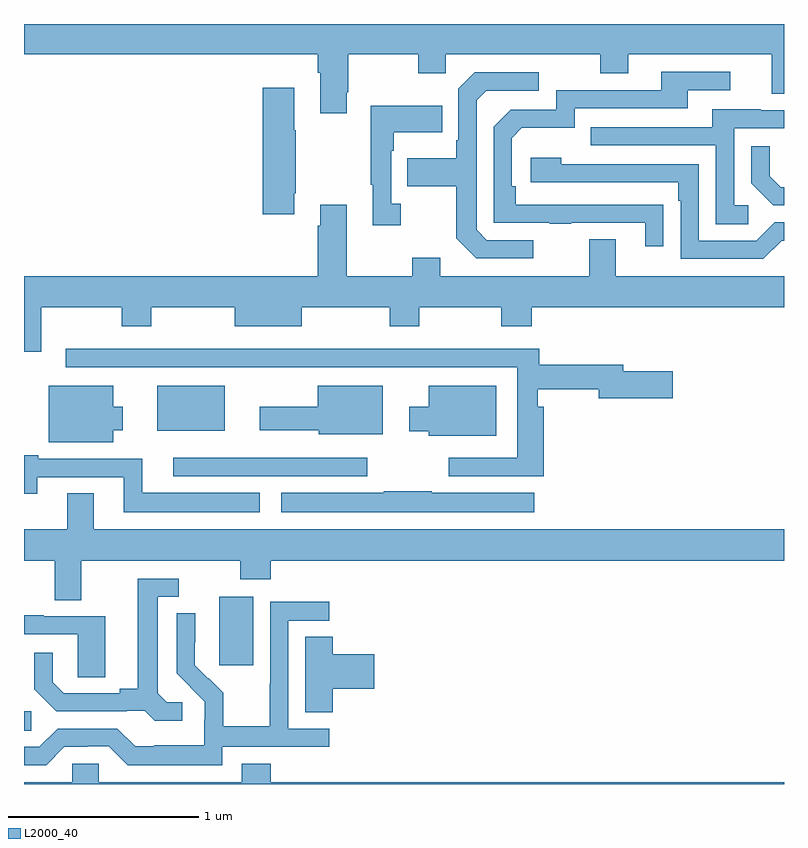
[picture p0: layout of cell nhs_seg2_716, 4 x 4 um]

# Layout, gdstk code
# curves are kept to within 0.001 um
import gdstk
lib = gdstk.Library(unit=1e-6, precision=1e-09)
def R(c, l, rs):  # rectangles x0, y0, x1, y1
    for r in rs: c.add(gdstk.rectangle(r[:2], r[2:], *l))
def P(c, l, *ps):  # polygons
    for p in ps: c.add(gdstk.Polygon(p, *l))
L2000_40 = (2000, 40)

nhs_seg2_716 = lib.new_cell('nhs_seg2_716')
R(nhs_seg2_716, L2000_40, [(147,640.081,147.037,640.182), (148.028,640.425,148.207,640.786), (147.701,641.66,148.057,641.896)])
P(nhs_seg2_716, L2000_40, [(148.699,643.441),(148.707,643.441),(148.707,643.64),(149.074,643.64),(149.074,643.541),(149.22,643.541),(149.22,643.64),(150.034,643.64),(150.034,643.541),(150.181,643.541),(150.181,643.64),(150.935,643.64),(150.935,643.432),(151,643.432),(151,643.8),(147,643.8),(147,643.64),(148.547,643.64),(148.547,643.544),(148.559,643.544),(148.559,643.329),(148.699,643.329)],
  [(150.365,642.848),(149.588,642.849),(149.588,642.946),(149.568,642.946),(149.568,643.2),(149.621,643.253),(149.898,643.253),(149.898,643.356),(150.493,643.356),(150.493,643.452),(150.718,643.452),(150.718,643.548),(150.353,643.548),(150.353,643.452),(149.802,643.452),(149.802,643.35),(149.562,643.35),(149.472,643.26),(149.472,642.753),(149.767,642.753),(149.767,642.748),(149.879,642.748),(149.879,642.753),(150.269,642.753),(150.269,642.63),(150.365,642.63)],
  [(149.68,642.663),(149.436,642.663),(149.382,642.717),(149.382,643.398),(149.433,643.449),(149.71,643.449),(149.71,643.545),(149.373,643.545),(149.286,643.458),(149.286,643.189),(149.274,643.189),(149.274,643.093),(149.017,643.093),(149.017,642.946),(149.274,642.946),(149.274,642.673),(149.379,642.567),(149.68,642.567)],
  [(148.423,642.91),(148.431,642.91),(148.431,643.241),(148.423,643.241),(148.423,643.465),(148.256,643.465),(148.256,642.798),(148.423,642.798)],
  [(148.984,642.854),(148.932,642.854),(148.932,643.133),(148.945,643.133),(148.945,643.229),(149.201,643.229),(149.201,643.369),(148.824,643.369),(148.824,642.953),(148.835,642.953),(148.835,642.741),(148.984,642.741)],
  [(150.811,642.846),(150.738,642.846),(150.738,643.251),(151,643.251),(151,643.347),(150.877,643.347),(150.877,643.351),(150.623,643.351),(150.623,643.257),(149.983,643.257),(149.983,643.161),(150.642,643.161),(150.642,642.745),(150.811,642.745)],
  [(151,642.942),(150.982,642.942),(150.925,642.999),(150.925,643.156),(150.828,643.156),(150.828,642.962),(150.944,642.846),(151,642.846)],
  [(150.987,642.66),(151,642.66),(151,642.756),(150.951,642.756),(150.855,642.66),(150.552,642.66),(150.552,643.062),(149.828,643.062),(149.828,643.096),(149.667,643.096),(149.667,642.966),(150.443,642.966),(150.443,642.869),(150.456,642.869),(150.456,642.564),(150.891,642.564)],
  [(147.091,642.308),(147.514,642.308),(147.514,642.209),(147.669,642.209),(147.669,642.308),(148.109,642.308),(148.109,642.209),(148.462,642.209),(148.462,642.308),(148.924,642.308),(148.924,642.209),(149.079,642.209),(149.079,642.308),(149.512,642.308),(149.512,642.209),(149.672,642.209),(149.672,642.308),(151,642.308),(151,642.472),(150.115,642.472),(150.115,642.667),(149.975,642.667),(149.975,642.472),(149.191,642.472),(149.191,642.571),(149.044,642.571),(149.044,642.472),(148.699,642.472),(148.699,642.85),(148.559,642.85),(148.559,642.737),(148.547,642.737),(148.547,642.472),(147,642.472),(147,642.075),(147.091,642.075)],
  [(149.735,641.785),(149.704,641.785),(149.704,641.878),(150.026,641.878),(150.026,641.831),(150.415,641.831),(150.415,641.973),(150.154,641.973),(150.154,642.007),(149.711,642.007),(149.711,642.09),(149.423,642.09),(149.423,642.092),(149.167,642.092),(149.167,642.09),(148.835,642.09),(148.835,642.092),(148.558,642.092),(148.558,642.09),(148.013,642.09),(148.013,642.092),(147.757,642.092),(147.757,642.09),(147.219,642.09),(147.219,641.994),(148.144,641.994),(148.144,641.993),(148.451,641.993),(148.451,641.994),(149.595,641.994),(149.595,641.517),(149.235,641.517),(149.235,641.421),(149.735,641.421)],
  [(147.469,641.663),(147.52,641.663),(147.52,641.785),(147.469,641.785),(147.469,641.896),(147.131,641.896),(147.131,641.6),(147.469,641.6)],
  [(149.485,641.896),(149.129,641.896),(149.129,641.785),(149.027,641.785),(149.027,641.656),(149.129,641.656),(149.129,641.633),(149.485,641.633)],
  [(148.888,641.896),(148.547,641.896),(148.547,641.785),(148.242,641.785),(148.242,641.663),(148.551,641.663),(148.551,641.642),(148.888,641.642)],
  [(148.24,641.332),(147.622,641.332),(147.622,641.511),(147.076,641.511),(147.076,641.531),(147,641.531),(147,641.328),(147.07,641.328),(147.07,641.415),(147.524,641.415),(147.524,641.231),(148.24,641.231)],
  [(148.807,641.517),(148.451,641.517),(148.451,641.518),(147.786,641.518),(147.786,641.421),(148.807,641.421)],
  [(149.686,641.332),(149.147,641.332),(149.147,641.342),(148.894,641.342),(148.894,641.332),(148.353,641.332),(148.353,641.231),(149.686,641.231)],
  [(147.301,640.976),(148.138,640.976),(148.138,640.877),(148.298,640.877),(148.298,640.976),(151,640.976),(151,641.14),(147.367,641.14),(147.367,641.33),(147.227,641.33),(147.227,641.14),(147,641.14),(147,640.976),(147.161,640.976),(147.161,640.768),(147.301,640.768)],
  [(147.832,640.23),(147.75,640.23),(147.703,640.277),(147.703,640.785),(147.814,640.785),(147.814,640.881),(147.599,640.881),(147.599,640.301),(147.503,640.301),(147.503,640.278),(147.208,640.278),(147.151,640.335),(147.151,640.492),(147.054,640.492),(147.054,640.298),(147.17,640.182),(147.542,640.182),(147.542,640.185),(147.636,640.185),(147.688,640.133),(147.832,640.133)],
  [(148.044,639.996),(148.606,639.996),(148.606,640.092),(148.392,640.092),(148.392,640.659),(148.606,640.659),(148.606,640.758),(148.296,640.758),(148.296,640.328),(148.294,640.328),(148.294,640.105),(148.049,640.105),(148.049,640.279),(147.972,640.356),(147.969,640.353),(147.899,640.424),(147.9,640.7),(147.804,640.7),(147.804,640.382),(147.95,640.234),(147.95,640.137),(147.948,640.137),(147.948,640.003),(147.685,640.003),(147.685,639.999),(147.585,639.999),(147.492,640.092),(147.177,640.092),(147.081,639.996),(147,639.996),(147,639.9),(147.117,639.9),(147.213,639.996),(147.332,639.996),(147.332,639.999),(147.447,639.999),(147.547,639.899),(148.044,639.899)],
  [(147.427,640.683),(147.103,640.683),(147.103,640.687),(147,640.687),(147,640.587),(147.282,640.587),(147.282,640.363),(147.427,640.363)],
  [(148.625,640.301),(148.843,640.301),(148.843,640.484),(148.625,640.484),(148.625,640.574),(148.481,640.574),(148.481,640.177),(148.625,640.177)],
  [(151,639.808),(148.298,639.808),(148.298,639.907),(148.145,639.907),(148.145,639.808),(147.393,639.808),(147.393,639.906),(147.255,639.906),(147.255,639.808),(147,639.808),(147,639.8),(151,639.8)])

lib.write_gds('nhs_seg2_716.gds')
